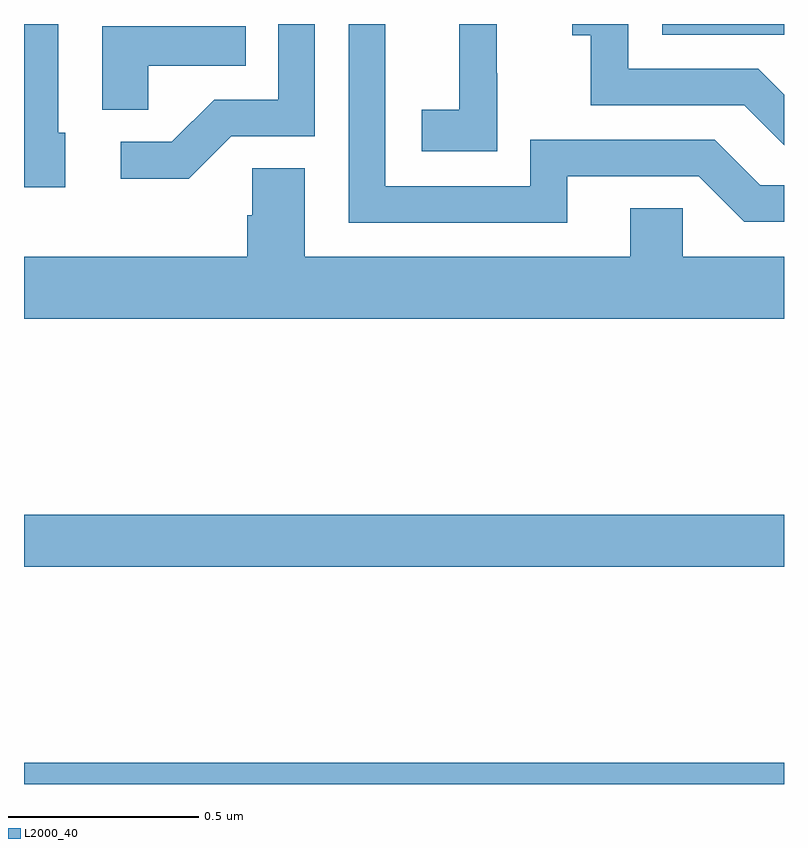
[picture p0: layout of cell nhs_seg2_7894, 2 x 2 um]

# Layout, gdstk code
import gdstk
lib = gdstk.Library(unit=1e-6, precision=1e-09)
def R(c, l, rs):  # rectangles x0, y0, x1, y1
    for r in rs: c.add(gdstk.rectangle(r[:2], r[2:], *l))
def P(c, l, *ps):  # polygons
    for p in ps: c.add(gdstk.Polygon(p, *l))
L2000_40 = (2000, 40)

nhs_seg2_7894 = lib.new_cell('nhs_seg2_7894')
R(nhs_seg2_7894, L2000_40, [(210,591.8,212,591.856), (210,592.372,212,592.508), (211.68,593.772,212,593.8)])
P(nhs_seg2_7894, L2000_40, [(211.245,593.671),(211.244,593.671),(211.244,593.8),(211.145,593.8),(211.145,593.575),(211.047,593.575),(211.047,593.465),(211.245,593.465)],
  [(212,593.614),(211.932,593.682),(211.59,593.682),(211.59,593.8),(211.443,593.8),(211.443,593.771),(211.492,593.771),(211.492,593.586),(211.895,593.586),(212,593.481)],
  [(210.109,593.514),(210.09,593.514),(210.09,593.8),(210,593.8),(210,593.37),(210.109,593.37)],
  [(211.429,593.4),(211.776,593.4),(211.896,593.28),(212,593.28),(212,593.376),(211.938,593.376),(211.818,593.496),(211.332,593.496),(211.332,593.373),(210.951,593.373),(210.951,593.8),(210.855,593.8),(210.855,593.277),(211.429,593.277)],
  [(210.546,593.505),(210.765,593.505),(210.765,593.8),(210.669,593.8),(210.669,593.601),(210.5,593.601),(210.389,593.49),(210.255,593.49),(210.255,593.393),(210.433,593.393)],
  [(210.327,593.69),(210.584,593.69),(210.584,593.794),(210.206,593.794),(210.206,593.575),(210.327,593.575)],
  [(212,593.188),(211.734,593.188),(211.734,593.315),(211.595,593.315),(211.595,593.188),(210.739,593.188),(210.739,593.42),(210.6,593.42),(210.6,593.297),(210.587,593.297),(210.587,593.188),(210,593.188),(210,593.024),(212,593.024)])

lib.write_gds('nhs_seg2_7894.gds')
